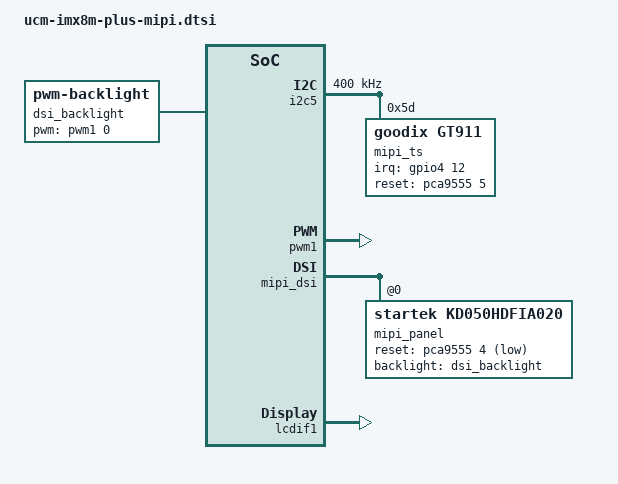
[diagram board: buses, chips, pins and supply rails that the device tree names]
/*
 * Copyright 2024 CompuLab
 *
 * This program is free software; you can redistribute it and/or
 * modify it under the terms of the GNU General Public License
 * as published by the Free Software Foundation; either version 2
 * of the License, or (at your option) any later version.
 *
 * This program is distributed in the hope that it will be useful,
 * but WITHOUT ANY WARRANTY; without even the implied warranty of
 * MERCHANTABILITY or FITNESS FOR A PARTICULAR PURPOSE.  See the
 * GNU General Public License for more details.
 */

&{/} {
	dsi_backlight: dsi_backlight {
		compatible = "pwm-backlight";
		pwms = <&pwm1 0 3000000 0>;
		brightness-levels = <15 255>;
		num-interpolated-steps = <15>;
		default-brightness-level = <10>;
		status = "okay";
	};
};

&i2c5 {
	#address-cells = <1>;
	#size-cells = <0>;
	clock-frequency = <400000>;
	pinctrl-names = "default";
	pinctrl-0 = <&pinctrl_i2c5>;
	status = "okay";

	mipi_ts: goodix_ts@5d {
		compatible = "goodix,gt911";
		reg = <0x5d>;

		interrupt-parent = <&gpio4>;
		interrupts = <12 IRQ_TYPE_LEVEL_HIGH>;

		pinctrl-names = "default";
		pinctrl-0 = <&touchscreen_pins>;

		irq-gpios = <&gpio4 12 GPIO_ACTIVE_HIGH>;
		reset-gpios = <&pca9555 5 GPIO_ACTIVE_HIGH>;
		status = "okay";
	};
};

&iomuxc {

	pinctrl_i2c5: i2c5grp {
		fsl,pins = <
			MX8MP_IOMUXC_SAI5_MCLK__I2C5_SDA		0x400001c2
			MX8MP_IOMUXC_SAI5_RXD0__I2C5_SCL		0x400001c2
		>;
	};

	pinctrl_pwm1: pwm1grp {
		fsl,pins = <
			MX8MP_IOMUXC_SPDIF_EXT_CLK__PWM1_OUT	0x116
		>;
	};

	touchscreen_pins: tsgrp {
		fsl,pins = <
			MX8MP_IOMUXC_SAI1_TXD0__GPIO4_IO12	0x00
		>;
	};
};

&pwm1 {
	pinctrl-names = "default";
	pinctrl-0 = <&pinctrl_pwm1>;
	status = "okay";
};

&mipi_dsi {
	#address-cells = <1>;
	#size-cells = <0>;
	status = "okay";
	mipi_panel: panel@0 {
		compatible = "startek,kd050hdfia020";
		reg = <0>;
		reset-gpio = <&pca9555 4 GPIO_ACTIVE_LOW>;
		dsi-lanes = <4>;
		backlight = <&dsi_backlight>;
		status = "okay";
	};
};

&lcdif1 {
	status = "okay";
};
